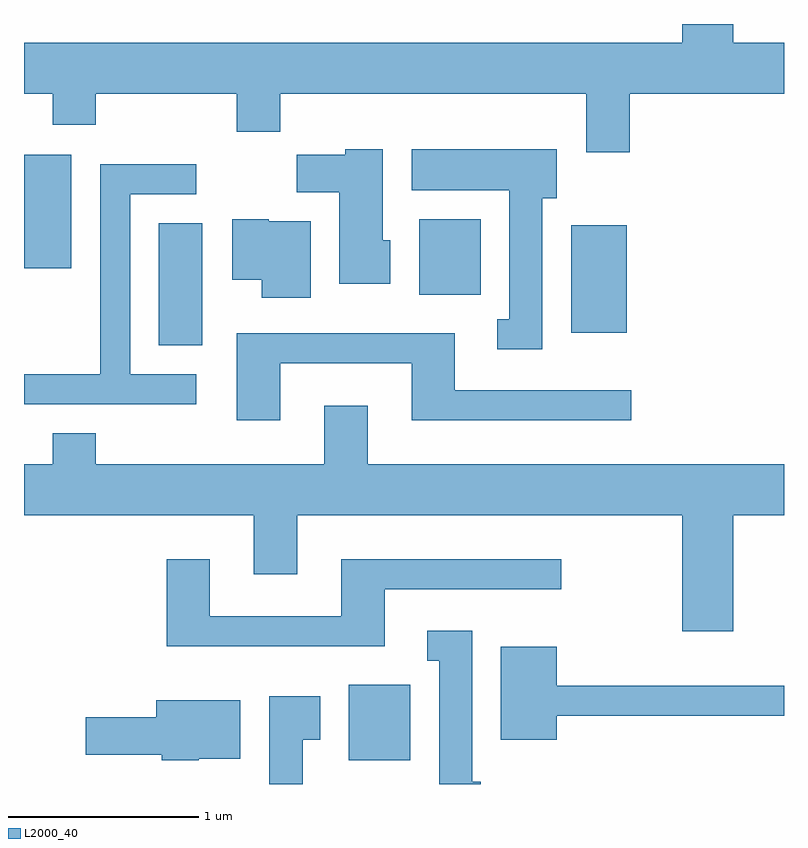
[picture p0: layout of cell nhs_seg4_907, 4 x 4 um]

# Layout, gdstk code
import gdstk
lib = gdstk.Library(unit=1e-6, precision=1e-09)
def R(c, l, rs):  # rectangles x0, y0, x1, y1
    for r in rs: c.add(gdstk.rectangle(r[:2], r[2:], *l))
def P(c, l, *ps):  # polygons
    for p in ps: c.add(gdstk.Polygon(p, *l))
L2000_40 = (2000, 40)

nhs_seg4_907 = lib.new_cell('nhs_seg4_907')
R(nhs_seg4_907, L2000_40, [(213.321,1300.106,213.644,1300.504), (212.321,1302.291,212.549,1302.934), (214.491,1302.356,214.784,1302.924), (213.691,1302.556,214.014,1302.954), (211.611,1302.696,211.859,1303.294)])
P(nhs_seg4_907, L2000_40, [(214.799,1303.616),(215.611,1303.616),(215.611,1303.884),(215.344,1303.884),(215.344,1303.982),(215.076,1303.982),(215.076,1303.884),(211.611,1303.884),(211.611,1303.616),(211.761,1303.616),(211.761,1303.451),(211.989,1303.451),(211.989,1303.616),(212.731,1303.616),(212.731,1303.416),(212.959,1303.416),(212.959,1303.616),(214.571,1303.616),(214.571,1303.306),(214.799,1303.306)],
  [(214.339,1303.066),(214.414,1303.066),(214.414,1303.324),(213.651,1303.324),(213.651,1303.106),(214.166,1303.106),(214.166,1302.429),(214.103,1302.429),(214.103,1302.271),(214.339,1302.271)],
  [(213.539,1302.844),(213.499,1302.844),(213.499,1303.324),(213.301,1303.324),(213.301,1303.294),(213.046,1303.294),(213.046,1303.096),(213.271,1303.096),(213.271,1302.616),(213.539,1302.616)],
  [(212.518,1302.139),(212.169,1302.139),(212.169,1303.086),(212.518,1303.086),(212.518,1303.244),(212.011,1303.244),(212.011,1302.139),(211.611,1302.139),(211.611,1301.981),(212.518,1301.981)],
  [(213.119,1302.944),(212.9,1302.944),(212.9,1302.954),(212.706,1302.954),(212.706,1302.636),(212.861,1302.636),(212.861,1302.541),(213.119,1302.541)],
  [(212.959,1302.196),(213.651,1302.196),(213.651,1301.896),(214.808,1301.896),(214.808,1302.054),(213.879,1302.054),(213.879,1302.354),(212.731,1302.354),(212.731,1301.896),(212.959,1301.896)],
  [(215.344,1301.396),(215.611,1301.396),(215.611,1301.664),(213.419,1301.664),(213.419,1301.974),(213.191,1301.974),(213.191,1301.664),(211.989,1301.664),(211.989,1301.829),(211.761,1301.829),(211.761,1301.664),(211.611,1301.664),(211.611,1301.396),(212.821,1301.396),(212.821,1301.086),(213.049,1301.086),(213.049,1301.396),(215.076,1301.396),(215.076,1300.786),(215.344,1300.786)],
  [(213.509,1301.006),(214.438,1301.006),(214.438,1301.164),(213.281,1301.164),(213.281,1300.864),(212.589,1300.864),(212.589,1301.164),(212.361,1301.164),(212.361,1300.706),(213.509,1300.706)],
  [(214.014,1299.994),(213.969,1299.994),(213.969,1300.789),(213.733,1300.789),(213.733,1300.631),(213.796,1300.631),(213.796,1299.982),(214.014,1299.982)],
  [(214.414,1300.341),(215.611,1300.341),(215.611,1300.499),(214.414,1300.499),(214.414,1300.704),(214.121,1300.704),(214.121,1300.216),(214.414,1300.216)],
  [(213.079,1300.216),(213.169,1300.216),(213.169,1300.444),(212.901,1300.444),(212.901,1299.982),(213.079,1299.982)],
  [(212.53,1300.116),(212.749,1300.116),(212.749,1300.424),(212.306,1300.424),(212.306,1300.334),(211.936,1300.334),(211.936,1300.136),(212.336,1300.136),(212.336,1300.106),(212.53,1300.106)])

lib.write_gds('nhs_seg4_907.gds')
